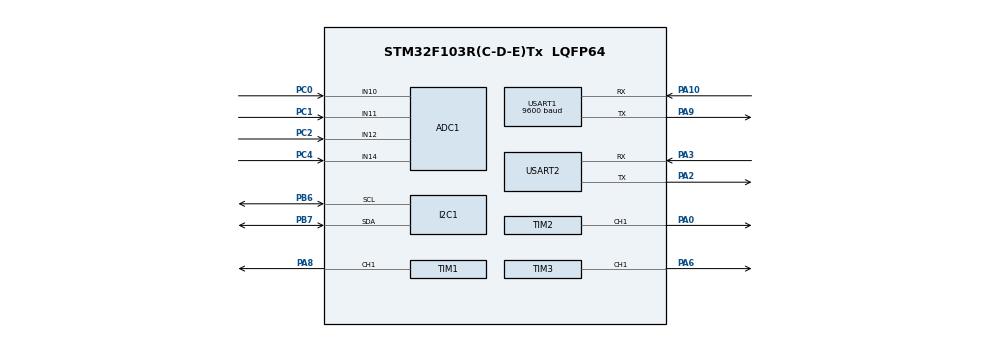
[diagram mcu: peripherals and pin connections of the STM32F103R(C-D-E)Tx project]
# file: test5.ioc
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ADC1.Channel-0\#ChannelRegularConversion=ADC_CHANNEL_10
ADC1.NbrOfConversionFlag=1
ADC1.master=1
Mcu.Family=STM32F1
Mcu.Name=STM32F103R(C-D-E)Tx
Mcu.Package=LQFP64
NVIC.PriorityGroup=NVIC_PRIORITYGROUP_4
PA0-WKUP.Signal=S_TIM2_CH1_ETR
PA10.Mode=Asynchronous
PA10.Signal=USART1_RX
PA13.Mode=Serial_Wire
PA13.Signal=SYS_JTMS-SWDIO
PA14.Mode=Serial_Wire
PA14.Signal=SYS_JTCK-SWCLK
PA2.Mode=Asynchronous
PA2.Signal=USART2_TX
PA3.Mode=Asynchronous
PA3.Signal=USART2_RX
PA6.Signal=S_TIM3_CH1
PA8.Signal=S_TIM1_CH1
PA9.Mode=Asynchronous
PA9.Signal=USART1_TX
PB6.Mode=I2C
PB6.Signal=I2C1_SCL
PB7.Mode=I2C
PB7.Signal=I2C1_SDA
PC0.Signal=ADCx_IN10
PC1.Signal=ADCx_IN11
PC2.Signal=ADCx_IN12
PC4.Signal=ADCx_IN14
ProjectManager.HeapSize=0x200
ProjectManager.StackSize=0x400
ProjectManager.TargetToolchain=CMake
RCC.APB1Freq_Value=8000000
RCC.APB2Freq_Value=8000000
SH.ADCx_IN10.0=ADC1_IN10,IN10
SH.ADCx_IN11.0=ADC1_IN11,IN11
SH.ADCx_IN12.0=ADC1_IN12,IN12
SH.ADCx_IN14.0=ADC1_IN14,IN14
SH.S_TIM1_CH1.0=TIM1_CH1,PWM Generation1 CH1
SH.S_TIM2_CH1_ETR.0=TIM2_CH1,PWM Generation1 CH1
SH.S_TIM3_CH1.0=TIM3_CH1,PWM Generation1 CH1
TIM1.Channel-PWM\ Generation1\ CH1=TIM_CHANNEL_1
TIM1.Period=19999
TIM1.Prescaler=8-1
TIM2.Channel-PWM\ Generation1\ CH1=TIM_CHANNEL_1
TIM2.Period=40-1
TIM2.Prescaler=100-1
TIM3.Channel-PWM\ Generation1\ CH1=TIM_CHANNEL_1
TIM3.Period=40-1
TIM3.Prescaler=100-1
USART1.BaudRate=9600
USART1.VirtualMode=VM_ASYNC
USART2.VirtualMode=VM_ASYNC
board=custom

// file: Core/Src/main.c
/* USER CODE BEGIN Header */
/**
  ******************************************************************************
  * @file           : main.c
  * @brief          : 智能鸡舍控制系统 - 主程序
  ******************************************************************************
  * @attention
  *
  * Copyright (c) 2026 STMicroelectronics.
  * All rights reserved.
  *
  * This software is licensed under terms that can be found in the LICENSE file
  * in the root directory of this software component.
  * If no LICENSE file comes with this software, it is provided AS-IS.
  *
  ******************************************************************************
  */
/* USER CODE END Header */
#include "main.h"

/* USER CODE BEGIN Includes */
#include "project_config.h"
#include "task_scheduler.h"
#include "virtual_rtc.h"
#include "virtual_env.h"
#include "hx711.h"
#include "ssd1306.h"
#include "keypad.h"
#include "keypad_test.h"
#include "stepper.h"
#include "modbus_rtu.h"
#include "auto_control.h"
#include "alarm_monitor.h"
#include "manual_control.h"
#include "modbus_data.h"
#include "stepper_test.h"
#include "demo_mode.h"
/* USER CODE END Includes */

/* USER CODE BEGIN PD */

/* 1 = 步进电机扫频测试模式 (隔离, 只跑电机测试); 0 = 正常固件 */
#define STEPPER_TEST_MODE  0

/* 1 = 整机功能演示模式 (隔离, 内部虚拟变量循环演示各子系统); 0 = 正常固件 */
/* 与 STEPPER_TEST_MODE 互斥, 同时为 1 时演示模式优先 */
#define DEMO_MODE          1

/* USER CODE END PD */

ADC_HandleTypeDef hadc1;

I2C_HandleTypeDef hi2c1;

TIM_HandleTypeDef htim1;
TIM_HandleTypeDef htim2;
TIM_HandleTypeDef htim3;

UART_HandleTypeDef huart1;
UART_HandleTypeDef huart2;

void SystemClock_Config(void);
static void MX_GPIO_Init(void);
static void MX_ADC1_Init(void);
static void MX_I2C1_Init(void);
static void MX_TIM1_Init(void);
static void MX_TIM2_Init(void);
static void MX_TIM3_Init(void);
static void MX_USART1_UART_Init(void);
static void MX_USART2_UART_Init(void);
/* USER CODE BEGIN PFP */

/* 任务函数原型 */
#if !STEPPER_TEST_MODE && !DEMO_MODE
static void Task_ModbusServer(void);
static void Task_ManualControl(void);
static void Task_AutoControl(void);
static void Task_AlarmMonitor(void);
static void Task_OLEDDisplay(void);
#endif
#if STEPPER_TEST_MODE
static void Task_StepperTest(void);
#endif
#if DEMO_MODE
static void Task_Demo(void);
#endif

/* USER CODE END PFP */

int main(void)
{

  /* MCU Configuration--------------------------------------------------------*/

  /* Reset of all peripherals, Initializes the Flash interface and the Systick. */
  HAL_Init();

  /* Configure the system clock */
  SystemClock_Config();

  /* Initialize all configured peripherals */
  MX_GPIO_Init();
  MX_ADC1_Init();
  MX_I2C1_Init();
  MX_TIM1_Init();
  MX_TIM2_Init();
  MX_TIM3_Init();
  MX_USART1_UART_Init();
  MX_USART2_UART_Init();
  /* USER CODE BEGIN 2 */

  /* ---- 驱动初始化 ---- */
  TaskScheduler_Init();
  VirtualRTC_Init();
  VIRTUAL_ENV_Init();
  HX711_Init();
  SSD1306_Init();
  KEYPAD_Init();
  STEPPER_Init(&g_x_motor, &htim2, X_DIR_PORT, X_DIR_PIN);
  STEPPER_Init(&g_z_motor, &htim3, Z_DIR_PORT, Z_DIR_PIN);
  MODBUS_Init(&huart1, &huart2, MODBUS_SLAVE_ID);

  /* 启动舵机 PWM (TIM1_CH1) */
  HAL_TIM_PWM_Start(&htim1, TIM_CHANNEL_1);

  AUTO_Control_Init();
  ALARM_Init();
  MANUAL_Init();
#if DEMO_MODE
  DEMO_Init();
#endif

  /* ---- 注册周期性任务 ---- */
#if DEMO_MODE
  /* 演示模式: 只跑整机功能演示。Modbus 帧处理在主循环每轮(MODBUS_Process),
     寄存器由 DEMO_Run 直接写入, 因此不注册 Task_ModbusServer(其 SyncRegisters
     会用静态虚拟传感器值覆盖 demo 写的寄存器)。 */
  TaskScheduler_Register(Task_Demo, 10, 3, "Demo");
#elif STEPPER_TEST_MODE
  /* 隔离测试: 只跑电机扫频, 不注册生产任务(避免 Auto/Manual 抢电机) */
  TaskScheduler_Register(Task_StepperTest, 10, 3, "StepTest");
#else
  TaskScheduler_Register(Task_ModbusServer,   TASK_MODBUS_PERIOD_MS,  4, "Modbus");
  TaskScheduler_Register(Task_ManualControl,  TASK_MANUAL_PERIOD_MS,  3, "Manual");
  TaskScheduler_Register(Task_AutoControl,    TASK_AUTO_PERIOD_MS,    2, "Auto");
  TaskScheduler_Register(Task_AlarmMonitor,   TASK_ALARM_PERIOD_MS,   1, "Alarm");
  TaskScheduler_Register(Task_OLEDDisplay,    TASK_OLED_PERIOD_MS,    0, "OLED");
#endif

  /* 初始显示 */
  SSD1306_DrawPage(g_oled_current_page);
  SSD1306_Display();

  /* USER CODE END 2 */

  /* Infinite loop */
  /* USER CODE BEGIN WHILE */
  while (1)
  {
    /* Modbus 帧处理放在主循环每轮执行, 降低响应延迟(对齐旧程序的
       主循环轮询 Modbus_Poll 行为), 避免被 50ms 任务周期拖慢导致
       严格主机判定超时。寄存器同步/写应用仍在 50ms 任务内。 */
    MODBUS_Process();

    /* 协作式调度器: 按优先级运行就绪的任务 */
    TaskScheduler_Run();
    /* USER CODE END WHILE */

  }
}

void SystemClock_Config(void)
{
  RCC_OscInitTypeDef RCC_OscInitStruct = {0};
  RCC_ClkInitTypeDef RCC_ClkInitStruct = {0};
  RCC_PeriphCLKInitTypeDef PeriphClkInit = {0};

  /** Initializes the RCC Oscillators according to the specified parameters
  * in the RCC_OscInitTypeDef structure.
  */
  RCC_OscInitStruct.OscillatorType = RCC_OSCILLATORTYPE_HSI;
  RCC_OscInitStruct.HSIState = RCC_HSI_ON;
  RCC_OscInitStruct.HSICalibrationValue = RCC_HSICALIBRATION_DEFAULT;
  RCC_OscInitStruct.PLL.PLLState = RCC_PLL_NONE;
  if (HAL_RCC_OscConfig(&RCC_OscInitStruct) != HAL_OK)
  {
    Error_Handler();
  }

  /** Initializes the CPU, AHB and APB buses clocks
  */
  RCC_ClkInitStruct.ClockType = RCC_CLOCKTYPE_HCLK|RCC_CLOCKTYPE_SYSCLK
                              |RCC_CLOCKTYPE_PCLK1|RCC_CLOCKTYPE_PCLK2;
  RCC_ClkInitStruct.SYSCLKSource = RCC_SYSCLKSOURCE_HSI;
  RCC_ClkInitStruct.AHBCLKDivider = RCC_SYSCLK_DIV1;
  RCC_ClkInitStruct.APB1CLKDivider = RCC_HCLK_DIV1;
  RCC_ClkInitStruct.APB2CLKDivider = RCC_HCLK_DIV1;

  if (HAL_RCC_ClockConfig(&RCC_ClkInitStruct, FLASH_LATENCY_0) != HAL_OK)
  {
    Error_Handler();
  }
  PeriphClkInit.PeriphClockSelection = RCC_PERIPHCLK_ADC;
  PeriphClkInit.AdcClockSelection = RCC_ADCPCLK2_DIV2;
  if (HAL_RCCEx_PeriphCLKConfig(&PeriphClkInit) != HAL_OK)
  {
    Error_Handler();
  }
}

static void MX_ADC1_Init(void)
{

  ADC_ChannelConfTypeDef sConfig = {0};

  /** Common config
  */
  hadc1.Instance = ADC1;
  hadc1.Init.ScanConvMode = ADC_SCAN_DISABLE;
  hadc1.Init.ContinuousConvMode = DISABLE;
  hadc1.Init.DiscontinuousConvMode = DISABLE;
  hadc1.Init.ExternalTrigConv = ADC_SOFTWARE_START;
  hadc1.Init.DataAlign = ADC_DATAALIGN_RIGHT;
  hadc1.Init.NbrOfConversion = 1;
  if (HAL_ADC_Init(&hadc1) != HAL_OK)
  {
    Error_Handler();
  }

  /** Configure Regular Channel
  */
  sConfig.Channel = ADC_CHANNEL_10;
  sConfig.Rank = ADC_REGULAR_RANK_1;
  sConfig.SamplingTime = ADC_SAMPLETIME_1CYCLE_5;
  if (HAL_ADC_ConfigChannel(&hadc1, &sConfig) != HAL_OK)
  {
    Error_Handler();
  }

}

static void MX_I2C1_Init(void)
{

  hi2c1.Instance = I2C1;
  hi2c1.Init.ClockSpeed = 100000;
  hi2c1.Init.DutyCycle = I2C_DUTYCYCLE_2;
  hi2c1.Init.OwnAddress1 = 0;
  hi2c1.Init.AddressingMode = I2C_ADDRESSINGMODE_7BIT;
  hi2c1.Init.DualAddressMode = I2C_DUALADDRESS_DISABLE;
  hi2c1.Init.OwnAddress2 = 0;
  hi2c1.Init.GeneralCallMode = I2C_GENERALCALL_DISABLE;
  hi2c1.Init.NoStretchMode = I2C_NOSTRETCH_DISABLE;
  if (HAL_I2C_Init(&hi2c1) != HAL_OK)
  {
    Error_Handler();
  }

}

static void MX_TIM1_Init(void)
{

  TIM_MasterConfigTypeDef sMasterConfig = {0};
  TIM_OC_InitTypeDef sConfigOC = {0};
  TIM_BreakDeadTimeConfigTypeDef sBreakDeadTimeConfig = {0};

  htim1.Instance = TIM1;
  htim1.Init.Prescaler = 8-1;
  htim1.Init.CounterMode = TIM_COUNTERMODE_UP;
  htim1.Init.Period = 19999;
  htim1.Init.ClockDivision = TIM_CLOCKDIVISION_DIV1;
  htim1.Init.RepetitionCounter = 0;
  htim1.Init.AutoReloadPreload = TIM_AUTORELOAD_PRELOAD_DISABLE;
  if (HAL_TIM_PWM_Init(&htim1) != HAL_OK)
  {
    Error_Handler();
  }
  sMasterConfig.MasterOutputTrigger = TIM_TRGO_RESET;
  sMasterConfig.MasterSlaveMode = TIM_MASTERSLAVEMODE_DISABLE;
  if (HAL_TIMEx_MasterConfigSynchronization(&htim1, &sMasterConfig) != HAL_OK)
  {
    Error_Handler();
  }
  sConfigOC.OCMode = TIM_OCMODE_PWM1;
  sConfigOC.Pulse = 0;
  sConfigOC.OCPolarity = TIM_OCPOLARITY_HIGH;
  sConfigOC.OCNPolarity = TIM_OCNPOLARITY_HIGH;
  sConfigOC.OCFastMode = TIM_OCFAST_DISABLE;
  sConfigOC.OCIdleState = TIM_OCIDLESTATE_RESET;
  sConfigOC.OCNIdleState = TIM_OCNIDLESTATE_RESET;
  if (HAL_TIM_PWM_ConfigChannel(&htim1, &sConfigOC, TIM_CHANNEL_1) != HAL_OK)
  {
    Error_Handler();
  }
  sBreakDeadTimeConfig.OffStateRunMode = TIM_OSSR_DISABLE;
  sBreakDeadTimeConfig.OffStateIDLEMode = TIM_OSSI_DISABLE;
  sBreakDeadTimeConfig.LockLevel = TIM_LOCKLEVEL_OFF;
  sBreakDeadTimeConfig.DeadTime = 0;
  sBreakDeadTimeConfig.BreakState = TIM_BREAK_DISABLE;
  sBreakDeadTimeConfig.BreakPolarity = TIM_BREAKPOLARITY_HIGH;
  sBreakDeadTimeConfig.AutomaticOutput = TIM_AUTOMATICOUTPUT_DISABLE;
  if (HAL_TIMEx_ConfigBreakDeadTime(&htim1, &sBreakDeadTimeConfig) != HAL_OK)
  {
    Error_Handler();
  }
  HAL_TIM_MspPostInit(&htim1);

}

static void MX_TIM2_Init(void)
{

  TIM_MasterConfigTypeDef sMasterConfig = {0};
  TIM_OC_InitTypeDef sConfigOC = {0};

  htim2.Instance = TIM2;
  htim2.Init.Prescaler = 100-1;
  htim2.Init.CounterMode = TIM_COUNTERMODE_UP;
  htim2.Init.Period = 40-1;
  htim2.Init.ClockDivision = TIM_CLOCKDIVISION_DIV1;
  htim2.Init.AutoReloadPreload = TIM_AUTORELOAD_PRELOAD_DISABLE;
  if (HAL_TIM_PWM_Init(&htim2) != HAL_OK)
  {
    Error_Handler();
  }
  sMasterConfig.MasterOutputTrigger = TIM_TRGO_RESET;
  sMasterConfig.MasterSlaveMode = TIM_MASTERSLAVEMODE_DISABLE;
  if (HAL_TIMEx_MasterConfigSynchronization(&htim2, &sMasterConfig) != HAL_OK)
  {
    Error_Handler();
  }
  sConfigOC.OCMode = TIM_OCMODE_PWM1;
  sConfigOC.Pulse = 0;
  sConfigOC.OCPolarity = TIM_OCPOLARITY_HIGH;
  sConfigOC.OCFastMode = TIM_OCFAST_DISABLE;
  if (HAL_TIM_PWM_ConfigChannel(&htim2, &sConfigOC, TIM_CHANNEL_1) != HAL_OK)
  {
    Error_Handler();
  }
  HAL_TIM_MspPostInit(&htim2);

}

static void MX_TIM3_Init(void)
{

  TIM_MasterConfigTypeDef sMasterConfig = {0};
  TIM_OC_InitTypeDef sConfigOC = {0};

  htim3.Instance = TIM3;
  htim3.Init.Prescaler = 100-1;
  htim3.Init.CounterMode = TIM_COUNTERMODE_UP;
  htim3.Init.Period = 40-1;
  htim3.Init.ClockDivision = TIM_CLOCKDIVISION_DIV1;
  htim3.Init.AutoReloadPreload = TIM_AUTORELOAD_PRELOAD_DISABLE;
  if (HAL_TIM_PWM_Init(&htim3) != HAL_OK)
  {
    Error_Handler();
  }
  sMasterConfig.MasterOutputTrigger = TIM_TRGO_RESET;
  sMasterConfig.MasterSlaveMode = TIM_MASTERSLAVEMODE_DISABLE;
  if (HAL_TIMEx_MasterConfigSynchronization(&htim3, &sMasterConfig) != HAL_OK)
  {
    Error_Handler();
  }
  sConfigOC.OCMode = TIM_OCMODE_PWM1;
  sConfigOC.Pulse = 0;
  sConfigOC.OCPolarity = TIM_OCPOLARITY_HIGH;
  sConfigOC.OCFastMode = TIM_OCFAST_DISABLE;
  if (HAL_TIM_PWM_ConfigChannel(&htim3, &sConfigOC, TIM_CHANNEL_1) != HAL_OK)
  {
    Error_Handler();
  }
  HAL_TIM_MspPostInit(&htim3);

}

static void MX_USART1_UART_Init(void)
{

  huart1.Instance = USART1;
  huart1.Init.BaudRate = 9600;
  huart1.Init.WordLength = UART_WORDLENGTH_9B;
  huart1.Init.StopBits = UART_STOPBITS_1;
  huart1.Init.Parity = UART_PARITY_EVEN;
  huart1.Init.Mode = UART_MODE_TX_RX;
  huart1.Init.HwFlowCtl = UART_HWCONTROL_NONE;
  huart1.Init.OverSampling = UART_OVERSAMPLING_16;
  if (HAL_UART_Init(&huart1) != HAL_OK)
  {
    Error_Handler();
  }

}

static void MX_USART2_UART_Init(void)
{

  huart2.Instance = USART2;
  huart2.Init.BaudRate = 9600;
  huart2.Init.WordLength = UART_WORDLENGTH_9B;
  huart2.Init.StopBits = UART_STOPBITS_1;
  huart2.Init.Parity = UART_PARITY_EVEN;
  huart2.Init.Mode = UART_MODE_TX_RX;
  huart2.Init.HwFlowCtl = UART_HWCONTROL_NONE;
  huart2.Init.OverSampling = UART_OVERSAMPLING_16;
  if (HAL_UART_Init(&huart2) != HAL_OK)
  {
    Error_Handler();
  }

}

static void MX_GPIO_Init(void)
{

  /* GPIO Ports Clock Enable */
  __HAL_RCC_GPIOC_CLK_ENABLE();
  __HAL_RCC_GPIOA_CLK_ENABLE();
  __HAL_RCC_GPIOB_CLK_ENABLE();

  /* USER CODE BEGIN MX_GPIO_Init_2 */

  /* ---- PA1 (X电机方向), PA4 (电磁阀1), PA5 (电磁阀2): 推挽输出 ---- */
  GPIO_InitStruct.Pin = GPIO_PIN_1 | GPIO_PIN_4 | GPIO_PIN_5;
  GPIO_InitStruct.Mode = GPIO_MODE_OUTPUT_PP;
  GPIO_InitStruct.Speed = GPIO_SPEED_FREQ_LOW;
  HAL_GPIO_Init(GPIOA, &GPIO_InitStruct);
  HAL_GPIO_WritePin(GPIOA, GPIO_PIN_1 | GPIO_PIN_4 | GPIO_PIN_5, GPIO_PIN_RESET);

  /* ---- PA7 (Y电机方向): 推挽输出 ---- */
  GPIO_InitStruct.Pin = GPIO_PIN_7;
  HAL_GPIO_Init(GPIOA, &GPIO_InitStruct);
  HAL_GPIO_WritePin(GPIOA, GPIO_PIN_7, GPIO_PIN_RESET);

  /* ---- PA11, PA12, PA15 (配送到位传感器): 上拉输入 ---- */
  GPIO_InitStruct.Pin = GPIO_PIN_11 | GPIO_PIN_12 | GPIO_PIN_15;
  GPIO_InitStruct.Mode = GPIO_MODE_INPUT;
  GPIO_InitStruct.Pull = GPIO_PULLUP;
  HAL_GPIO_Init(GPIOA, &GPIO_InitStruct);

  /* ---- PB0(日光灯), PB1(白炽灯), PB2(低湿报警), PB9(加湿阀) ---- */
  /* ---- PB11(清洗阀), PB12(降温风扇), PB13(通风风扇): 推挽输出 ---- */
  GPIO_InitStruct.Pin = GPIO_PIN_0 | GPIO_PIN_1 | GPIO_PIN_2 |
                        GPIO_PIN_9 | GPIO_PIN_11 | GPIO_PIN_12 | GPIO_PIN_13;
  GPIO_InitStruct.Mode = GPIO_MODE_OUTPUT_PP;
  GPIO_InitStruct.Speed = GPIO_SPEED_FREQ_LOW;
  HAL_GPIO_Init(GPIOB, &GPIO_InitStruct);
  HAL_GPIO_WritePin(GPIOB, GPIO_PIN_0 | GPIO_PIN_1 | GPIO_PIN_2 |
                    GPIO_PIN_9 | GPIO_PIN_11 | GPIO_PIN_12 | GPIO_PIN_13, GPIO_PIN_RESET);

  /* ---- PB3(HX711 SCK): 推挽输出 ---- */
  GPIO_InitStruct.Pin = GPIO_PIN_3;
  GPIO_InitStruct.Mode = GPIO_MODE_OUTPUT_PP;
  HAL_GPIO_Init(GPIOB, &GPIO_InitStruct);
  HAL_GPIO_WritePin(GPIOB, GPIO_PIN_3, GPIO_PIN_RESET);

  /* ---- PB4(数据1), PB5(数据3), PB15(数据2): 上拉输入 ---- */
  GPIO_InitStruct.Pin = GPIO_PIN_4 | GPIO_PIN_5 | GPIO_PIN_15;
  GPIO_InitStruct.Mode = GPIO_MODE_INPUT;
  GPIO_InitStruct.Pull = GPIO_PULLUP;
  HAL_GPIO_Init(GPIOB, &GPIO_InitStruct);

  /* ---- PB8(光敏传感器): 上拉输入 ---- */
  GPIO_InitStruct.Pin = GPIO_PIN_8;
  GPIO_InitStruct.Mode = GPIO_MODE_INPUT;
  GPIO_InitStruct.Pull = GPIO_PULLUP;
  HAL_GPIO_Init(GPIOB, &GPIO_InitStruct);

  /* ---- PC3, PC5~PC15: 推挽输出 (LED + 电磁阀3) ---- */
  GPIO_InitStruct.Pin = GPIO_PIN_3 | GPIO_PIN_5 | GPIO_PIN_6 | GPIO_PIN_7 |
                        GPIO_PIN_8 | GPIO_PIN_9 | GPIO_PIN_10 | GPIO_PIN_11 |
                        GPIO_PIN_12 | GPIO_PIN_13 | GPIO_PIN_14 | GPIO_PIN_15;
  GPIO_InitStruct.Mode = GPIO_MODE_OUTPUT_PP;
  GPIO_InitStruct.Speed = GPIO_SPEED_FREQ_LOW;
  HAL_GPIO_Init(GPIOC, &GPIO_InitStruct);
  HAL_GPIO_WritePin(GPIOC, GPIO_PIN_3 | GPIO_PIN_5 | GPIO_PIN_6 | GPIO_PIN_7 |
                    GPIO_PIN_8 | GPIO_PIN_9 | GPIO_PIN_10 | GPIO_PIN_11 |
                    GPIO_PIN_12 | GPIO_PIN_13 | GPIO_PIN_14 | GPIO_PIN_15,
                    GPIO_PIN_RESET);

  /* ---- PD2 (低水位提示灯2): 推挽输出 ---- */
  GPIO_InitStruct.Pin = GPIO_PIN_2;
  GPIO_InitStruct.Mode = GPIO_MODE_OUTPUT_PP;
  HAL_GPIO_Init(GPIOD, &GPIO_InitStruct);
  HAL_GPIO_WritePin(GPIOD, GPIO_PIN_2, GPIO_PIN_RESET);

  /* USER CODE END MX_GPIO_Init_2 */
}

/* USER CODE BEGIN 4 */

/* ---- 任务函数实现 ---- */

#if !STEPPER_TEST_MODE && !DEMO_MODE
static void Task_ModbusServer(void)
{
  MODBUS_DATA_SyncRegisters();
  /* 注: MODBUS_Process() 已移至主循环每轮调用以降低延迟, 此处不再重复 */
  MODBUS_DATA_ApplyWrites();
}

static void Task_ManualControl(void)
{
  MANUAL_Scan();
}

static void Task_AutoControl(void)
{
  VIRTUAL_ENV_Update();
  VirtualRTC_Update();
  AUTO_Control_Run();
}

static void Task_AlarmMonitor(void)
{
  ALARM_Monitor();
}

static void Task_OLEDDisplay(void)
{
  OLED_UpdateDisplay();
}
#endif

#if STEPPER_TEST_MODE
static void Task_StepperTest(void)
{
  STEPPER_RunTest();
}
#endif

#if DEMO_MODE
static void Task_Demo(void)
{
  DEMO_Run();
}
#endif

/* USER CODE END 4 */

void Error_Handler(void)
{
  __disable_irq();
  while (1)
  {
  }
}
